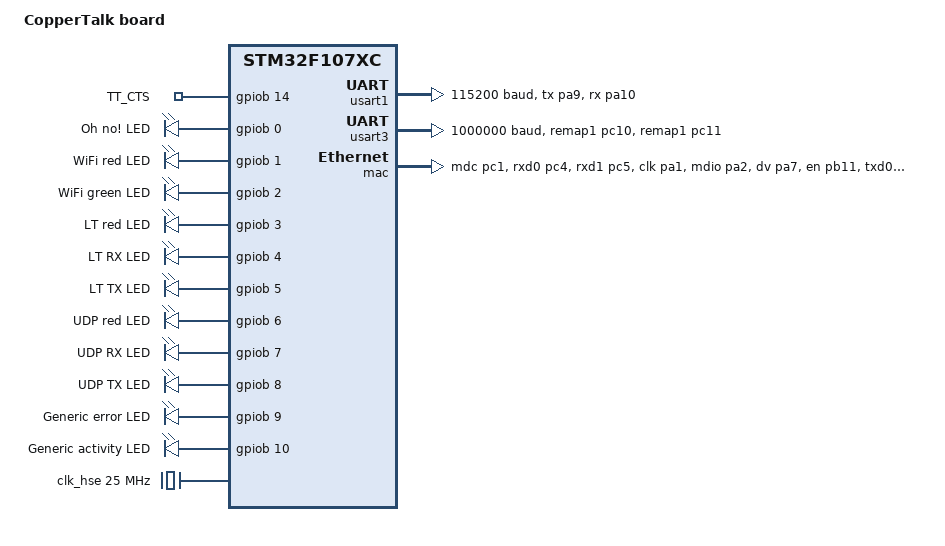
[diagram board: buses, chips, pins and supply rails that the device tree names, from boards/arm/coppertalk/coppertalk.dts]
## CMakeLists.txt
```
cmake_minimum_required(VERSION 3.20.0)

list(APPEND BOARD_ROOT ${CMAKE_CURRENT_SOURCE_DIR})

find_package(Zephyr REQUIRED)
project(airtalk)

add_subdirectory(src)
```

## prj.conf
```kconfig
CONFIG_EVENTS=y
CONFIG_REBOOT=y
CONFIG_SETTINGS=y

CONFIG_NETWORKING=y
CONFIG_NET_L2_ETHERNET=y
CONFIG_NET_IPV4=y
CONFIG_NET_DHCPV4=y
CONFIG_NET_IPV4_IGMP=y
CONFIG_NET_IF_MCAST_IPV4_ADDR_COUNT=2
CONFIG_NET_STATISTICS_IGMP=y

CONFIG_NET_LOG=y

CONFIG_NET_MGMT=y
CONFIG_NET_MGMT_EVENT=y

CONFIG_NET_SOCKETS=y
CONFIG_NET_SOCKETS_POSIX_NAMES=y

CONFIG_SERIAL=y
CONFIG_UART_INTERRUPT_DRIVEN=y
```

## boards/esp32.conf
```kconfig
CONFIG_WIFI=y
CONFIG_WIFI_ESP32=y
#CONFIG_HEAP_MEM_POOL_SIZE=98304
#CONFIG_HEAP_MEM_POOL_SIZE=146768
#CONFIG_HEAP_MEM_POOL_SIZE=143696
#CONFIG_HEAP_MEM_POOL_SIZE=143568
#CONFIG_HEAP_MEM_POOL_SIZE=33344
#CONFIG_HEAP_MEM_POOL_SIZE=33296
CONFIG_HEAP_MEM_POOL_SIZE=33232

CONFIG_MBEDTLS=y
CONFIG_MBEDTLS_ENTROPY_ENABLED=y
CONFIG_MBEDTLS_KEY_EXCHANGE_ECDHE_ECDSA_ENABLED=y
CONFIG_MBEDTLS_ECP_ALL_ENABLED=y

# when enabling NET_SHELL, the following
# helps to optimize memory footprint
CONFIG_ESP32_WIFI_STATIC_RX_BUFFER_NUM=8
CONFIG_ESP32_WIFI_DYNAMIC_RX_BUFFER_NUM=8
CONFIG_ESP32_WIFI_DYNAMIC_TX_BUFFER_NUM=8
CONFIG_ESP32_WIFI_IRAM_OPT=n
CONFIG_ESP32_WIFI_RX_IRAM_OPT=n
```

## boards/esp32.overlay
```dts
/ {
	chosen {
	     zephyr,console = &uart0;
	};

	leds {
		compatible= "gpio-leds";

		wifi_red_led: wifi_red_led {
			gpios = <&gpio1 3 GPIO_ACTIVE_HIGH>;
			label = "WiFi red LED";
		};

		wifi_green_led: wifi_green_led {
			gpios = <&gpio1 0 GPIO_ACTIVE_HIGH>;
			label = "WiFi green LED";
		};

		udp_red_led: udp_red_led {
			gpios = <&gpio0 27 GPIO_ACTIVE_HIGH>;
			label = "UDP red LED";
		};

		udp_tx_led: udp_tx_led {
			gpios = <&gpio0 12 GPIO_ACTIVE_HIGH>;
			label = "UDP TX LED";
		};

		udp_rx_led: udp_rx_led {
			gpios = <&gpio0 14 GPIO_ACTIVE_HIGH>;
			label = "UDP RX LED";
		};

		lt_red_led: lt_red_led {
			gpios = <&gpio1 1 GPIO_ACTIVE_HIGH>;
			label = "LT red LED";
		};

		lt_tx_led: lt_tx_led {
			gpios = <&gpio0 26 GPIO_ACTIVE_HIGH>;
			label = "LT TX LED";
		};

		lt_rx_led: lt_rx_led {
			gpios = <&gpio0 25 GPIO_ACTIVE_HIGH>;
			label = "LT RX LED";
		};

		oh_no_led: oh_no_led {
			gpios = <&gpio1 2 GPIO_ACTIVE_HIGH>;
			label = "Oh no! LED";
		};

		generic_err_led: generic_err_led {
			gpios = <&gpio0 5 GPIO_ACTIVE_HIGH>;
			label = "Generic error LED";
		};

		generic_act_led: generic_act_led {
			gpios = <&gpio0 16 GPIO_ACTIVE_HIGH>;
			label = "Generic activity LED";
		};
	};

	gpio_keys {
		compatible = "gpio-keys";
		recoverybutton: recovery_button {
			gpios = <&gpio1 2 GPIO_ACTIVE_LOW>;
			label = "Recovery Button";
		};
	};

	aliases {
		wifi-red-led = &wifi_red_led;
		wifi-green-led = &wifi_green_led;
		udp-red-led = &udp_red_led;
		udp-tx-led = &udp_tx_led;
		udp-rx-led = &udp_rx_led;
		lt-red-led = &lt_red_led;
		lt-tx-led = &lt_tx_led;
		lt-rx-led = &lt_rx_led;
		oh-no-led = &oh_no_led;
		generic-err-led = &generic_err_led;
		generic-act-led = &generic_act_led;

		recoverybutton = &recoverybutton;

		uart-tt = &uart2;
	};
};

&pinctrl {
	uart_tt: uart_tt {
		group1 {
			pinmux = <UART2_TX_GPIO15>;
		};
		group2 {
			pinmux = <UART2_RX_GPIO13>;
			bias-pull-up;
		};
		group3 {
			pinmux = <UART2_RTS_GPIO5>;
			bias-pull-up;
			drive-open-drain;
		};
		group4 {
			pinmux = <UART2_CTS_GPIO2>;
			bias-pull-up;
			drive-open-drain;
		};
	};
};
/*
        uart1_rx_gpio15: uart1_rx_gpio15 {
                pinmux = <UART1_RX_GPIO13>;
        };

        uart1_tx_gpio13: uart1_tx_gpio13 {
                pinmux = <UART1_TX_GPIO15>;
                bias-pull-up;
        };

	uart1_rts_gpio5: uart1_rts_gpio5 {
                pinmux = <UART1_RX_GPIO5>;
                bias-pull-up;
		drive-open-drain;
	};

	uart1_cts_gpio2: uart1_rts_gpio2 {
                pinmux = <UART1_RX_GPIO2>;
                bias-pull-up;
		drive-open-drain;
	};
*/

&uart2 {
	status = "okay";
	current-speed = <1000000>;
	pinctrl-0 = <&uart_tt>;
	hw-flow-control;
};

//        pinctrl-0 = <&uart1_tx_gpio13 &uart1_rx_gpio15 &uart1_rts_gpio5 &uart1_cts_gpio2>;
```

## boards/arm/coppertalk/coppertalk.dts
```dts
/*
 * Copyright (c) 2017 Linaro Limited
 *
 * SPDX-License-Identifier: Apache-2.0
 */

/dts-v1/;
#include <st/f1/stm32f107Xc.dtsi>
#include <st/f1/stm32f107r(b-c)tx-pinctrl.dtsi>

/ {
	model = "CopperTalk board";
	compatible = "coppertalk";

	chosen {
		zephyr,console = &usart1;
		zephyr,shell-uart = &usart1;
		//zephyr,console = &cdc_acm_uart0;
		//zephyr,shell-uart = &cdc_acm_uart0;
		zephyr,sram = &sram0;
		zephyr,flash = &flash0;
	};

	gpio_keys {
		compatible="gpio-keys";
		ttcts: tt_cts {
			label = "TT_CTS";
			gpios = <&gpiob 14 (GPIO_ACTIVE_HIGH | GPIO_PULL_UP)>;
		};
		
	};

	leds {
		compatible= "gpio-leds";

		oh_no_led: oh_no_led {
			gpios = <&gpiob 0 GPIO_ACTIVE_HIGH>;
			label = "Oh no! LED";
		};

		wifi_red_led: wifi_red_led {
			gpios = <&gpiob 1 GPIO_ACTIVE_HIGH>;
			label = "WiFi red LED";
		};

		wifi_green_led: wifi_green_led {
			gpios = <&gpiob 2 GPIO_ACTIVE_HIGH>;
			label = "WiFi green LED";
		};

		lt_red_led: lt_red_led {
			gpios = <&gpiob 3 GPIO_ACTIVE_HIGH>;
			label = "LT red LED";
		};

		lt_rx_led: lt_rx_led {
			gpios = <&gpiob 4 GPIO_ACTIVE_HIGH>;
			label = "LT RX LED";
		};

		lt_tx_led: lt_tx_led {
			gpios = <&gpiob 5 GPIO_ACTIVE_HIGH>;
			label = "LT TX LED";
		};

		udp_red_led: udp_red_led {
			gpios = <&gpiob 6 GPIO_ACTIVE_HIGH>;
			label = "UDP red LED";
		};

		udp_rx_led: udp_rx_led {
			gpios = <&gpiob 7 GPIO_ACTIVE_HIGH>;
			label = "UDP RX LED";
		};

		udp_tx_led: udp_tx_led {
			gpios = <&gpiob 8 GPIO_ACTIVE_HIGH>;
			label = "UDP TX LED";
		};

		generic_err_led: generic_err_led {
			gpios = <&gpiob 9 GPIO_ACTIVE_HIGH>;
			label = "Generic error LED";
		};

		generic_act_led: generic_act_led {
			gpios = <&gpiob 10 GPIO_ACTIVE_HIGH>;
			label = "Generic activity LED";
		};
	};

	aliases {
		wifi-red-led = &wifi_red_led;
		wifi-green-led = &wifi_green_led;
		udp-red-led = &udp_red_led;
		udp-tx-led = &udp_tx_led;
		udp-rx-led = &udp_rx_led;
		lt-red-led = &lt_red_led;
		lt-tx-led = &lt_tx_led;
		lt-rx-led = &lt_rx_led;
		oh-no-led = &oh_no_led;
		generic-err-led = &generic_err_led;
		generic-act-led = &generic_act_led;

		tt-cts = &ttcts;
		uart-tt = &usart3;
		uart-usb = &usart1;
	};
};

&clk_hse {
	status = "okay";
	clock-frequency = <DT_FREQ_M(25)>; /* 25MHz crystal */
};

&pll2 {
	status = "okay";
	clocks = <&clk_hse>;
	prediv = <5>; /* Prediv2 */
	mul = <8>; /* PLL2Mul */
};

&pll {
	status = "okay";
	clocks = <&pll2>; /* Prediv1 Source Mux */
	prediv = <5>; /* Prediv1 */
	mul = <9>; /* PLLMul */
};

&rcc {
	status = "okay";
	clocks = <&pll>;
	clock-frequency = <DT_FREQ_M(72)>;
	ahb-prescaler = <1>;
	apb1-prescaler = <2>;
	apb2-prescaler = <1>;
};

&usart1 {
	status = "okay";
	pinctrl-0 = <&usart1_tx_pa9 &usart1_rx_pa10>;
	pinctrl-names = "default";
	current-speed = <115200>;
};

&usart3 {
	status = "okay";
	//pinctrl-0 = <&usart3_tx_remap1_pc10 &usart3_rx_remap1_pc11 &usart3_rts_pb14 &usart3_cts_pb13>;
	//pinctrl-0 = <&usart3_tx_remap1_pc10 &usart3_rx_remap1_pc11 &usart3_rts_pb14>;
	pinctrl-0 = <&usart3_tx_remap1_pc10 &usart3_rx_remap1_pc11>;
	pinctrl-names = "default";
	current-speed = <1000000>;
	//hw-flow-control;
};



&dma1 {
	status = "okay";
};

&mac {
	status = "okay";
	pinctrl-0 = <&eth_mdc_pc1
		     &eth_rxd0_pc4
		     &eth_rxd1_pc5
		     &eth_ref_clk_pa1
		     &eth_mdio_pa2
		     &eth_crs_dv_pa7
		     &eth_tx_en_pb11
		     &eth_txd0_pb12
		     &eth_txd1_pb13
		     &mco1_pa8>;
	pinctrl-names = "default";
};
/*
zephyr_udc0: &usbotg_fs {
	status = "okay";
	pinctrl-0 = <&usb_otg_fs_dm_pa11 &usb_otg_fs_dp_pa12>;
	pinctrl-names = "default";
};

&zephyr_udc0 {
	cdc_acm_uart0: cdc_acm_uart0 {
		compatible = "zephyr,cdc-acm-uart";
	};
};
*/

&flash0 {
	partitions {
		compatible = "fixed-partitions";
		#address-cells = <1>;
		#size-cells = <1>;

		/* Set 2KB of storage at the end of 256KB flash */
		storage_partition: partition@1f800 {
			label = "storage";
			reg = <0x0003f800 0x00000800>;
		};
	};
};

/* GD32F107RCT6 has 96k of SRAM instead of 64k */
&sram0 {
	reg = <0x20000000 DT_SIZE_K(96)>;
};

&gpioa {
    pinctrl-0 = <&mco1_pa8>;
    pinctrl-names = "default";
};

&pinctrl {
	mco1_pa8: mco1_pa8 {
		pinmux = <STM32F1_PINMUX('A', 8, ALTERNATE, NO_REMAP)>;
		slew-rate = "max-speed-50mhz";
	};

	/* Free up PB3/PB4 by disabling JTAG debugging since it is not supported on the board */
	swj-cfg = "jtag-disable";
};
```

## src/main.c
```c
#include <stdio.h>
#include <string.h>

#include "sdkconfig.h"
#include "driver/gpio.h"
#include "esp_system.h"
#include "esp_spi_flash.h"

#include "packet_types.h"
#include "buffer_pool.h"
#include "led.h"
#include "wifi.h"
#include "ip.h"
#include "uart.h"
#include "apps.h"
#include "scan_manager.h"
#include "storage.h"
#include "recovery.h"
#include "recovery_listener.h"


#include "esp_wifi.h"

// some queues
K_MSGQ_DEFINE(UARTtoApps, sizeof(llap_packet *), 60, 4);
K_MSGQ_DEFINE(AppsToUDP, sizeof(llap_packet *), 60, 4);
K_MSGQ_DEFINE(UDPtoUART, sizeof(llap_packet *), 60, 4);

// For buffer pool
K_MSGQ_DEFINE(packet_pool_queue, sizeof(char *), 180, 4);


void recovery_main(void) {
	storage_init();
	led_init();
	turn_all_leds_on();

	init_recovery_wifi();
	start_recovery_webserver();

	printf("would enter recovery here");
	while(1) {
		k_msleep(1000);
	}
}

void main(void)
{
	printf("storage init\n");
	storage_init();
	uint8_t recovery = 0;
	recovery = get_recovery();
	clear_recovery();
	#if 0 // Recovery disabled for now in Zephyr port
	if (recovery) {
		recovery_main();
	}
	#endif
	

	printf("led init\n");
	led_init();
	printf("uart init\n");
	uart_init();
	printf("wifi init\n");
	init_at_wifi();

	// A pool of buffers used for LLAP packets/frames on the way through
	static buffer_pool_t packet_pool;
	static char buffers[180][sizeof(llap_packet)];
	init_buffer_pool(&packet_pool, &packet_pool_queue, (char *)buffers[0], 180, sizeof(llap_packet));

	
	//printk("start_recovery_listener\n");
	//start_recovery_listener();	
	printk("start_udp\n");
	start_udp(&packet_pool, &AppsToUDP, &UDPtoUART);
	//printk("start_scan_manager\n");
	//start_scan_manager();
	printk("start_apps\n");
	start_apps(&packet_pool, &UARTtoApps, &UDPtoUART, &AppsToUDP);
	printk("uart_start\n");
	uart_start(&packet_pool, &UDPtoUART, &UARTtoApps);

	printk("Initialized!\n");

	while(1) {
		k_msleep(1000);
	}
}
```

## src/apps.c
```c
#include <zephyr/zephyr.h>
#include <zephyr/sys/reboot.h>

#include <stdbool.h>
#include <string.h>

#include "esp_system.h"
#include "esp_log.h"

#include "apps.h"
#include "scan_manager.h"
#include "buffer_pool.h"
#include "packet_types.h"
#include "packet_utils.h"
#include "crc.h"
#include "crc32.h"
#include "pstrings.h"
#include "storage.h"

#define REQUIRE(x) if(!(x)) { return false; }

#define THREAD_APPS_PRIORITY 5

const char* TAG = "APPS";

struct k_msgq *qFromUART = NULL;
struct k_msgq *qToUART = NULL;
struct k_msgq *qToUDP = NULL;
buffer_pool_t* buffer_pool;

struct k_thread apps_task;
K_THREAD_STACK_DEFINE(apps_stack, 4096);

void send_fake_nbp_LkUpReply(uint8_t node, uint8_t socket, uint8_t enumerator,
	uint8_t nbp_id, char* object, char* type, char* zone) {

	llap_packet* packet = bp_fetch(buffer_pool);
	if (packet == NULL) {
		// um I don't know what to do, let's bail out and hope it goes away
		printk("send_fake_nbp_LkUpReply packet == NULL\n");
		return;
	}
	
	// first of all, let's work out how long this packet is going to be
	uint16_t object_len = strlen(object);
	uint16_t type_len = strlen(type);
	uint16_t zone_len = strlen(zone);
	
	uint16_t tuple_len = 5 + // network information
					  3 + // string length bytes
					  object_len + type_len + zone_len;
					
	uint16_t nbp_packet_len = tuple_len + 2;
	uint16_t ddp_packet_len = nbp_packet_len + 5;
	uint16_t llap_packet_len = ddp_packet_len + 3;
	
	// now start populating the packet.  LLAP headers first:
	packet->length = llap_packet_len;
	packet->packet[0] = node;
	packet->packet[1] = 129; // see if we can get away with this
	packet->packet[2] = 1; // 1 -> DDP, short header.
	
	// DDP headers next:
	packet->packet[3] = 0;
	packet->packet[4] = ddp_packet_len;
		
	packet->packet[5] = socket;
	packet->packet[6] = 2; // source socket number
	packet->packet[7] = 2; // DDP type for NBP
	
	// NBP header:
	packet->packet[8] = 0x31;  // lkup-reply, 1 tuple
	packet->packet[9] = nbp_id;
	
	// NBP tuple.  We fake this based on the crc32 of the object name
	uint32_t my_crc32 = crc32buf(object, object_len);
	
	packet->packet[10] = my_crc32 & 0xFF000000 >> 24; // network, msb
	packet->packet[11] = my_crc32 & 0x00FF0000 >> 16;
	packet->packet[12] = my_crc32 & 0x0000FF00 >> 8; // node ID
	packet->packet[13] = my_crc32 & 0x000000FF; // socket number
	packet->packet[14] = enumerator;
	
	// add names into tuple
	int cursor = 15;
	
	// object
	packet->packet[cursor++] = object_len;
	for (int i = 0; i < object_len; i++) {
		packet->packet[cursor++] = object[i];
	}
	
	// type
	packet->packet[cursor++] = type_len;
	for (int i = 0; i < type_len; i++) {
		packet->packet[cursor++] = type[i];
	}

	// zone
	packet->packet[cursor++] = zone_len;
	for (int i = 0; i < zone_len; i++) {
		packet->packet[cursor++] = zone[i];
	}
	
	// finally, add the crc
	crc_state_t crc;
	crc_state_init(&crc);
	crc_state_append_all(&crc, packet->packet, packet->length);
	
	packet->length += 2;
	packet->packet[cursor++] = crc_state_byte_1(&crc);
	packet->packet[cursor++] = crc_state_byte_2(&crc);
	
	k_msgq_put(qToUART, &packet, K_FOREVER);
	k_msleep(1);
	
	//bp_relinquish(buffer_pool, &packet);
}

bool is_our_nbp_lkup(llap_packet* packet, char* nbptype, nbp_return_t* addr) {
	// First, we check whether this is a broadcast NBP lookup with at least one
	// tuple.
	REQUIRE(is_nbp_packet(packet));
	REQUIRE(ddp_destination_node(packet) == 255);
	REQUIRE(nbp_function_code(packet) == NBP_LKUP);
	REQUIRE(nbp_tuple_count(packet) > 0);
			
	// Now we extract the first tuple and check whether the type is the one
	// our caller wants.
	nbp_tuple_t tuple = nbp_tuple(packet, 0);
	if (!tuple.ok) {
		return false;
	}
		
	// let's check our type string is actually a protocol-compliant length.
	// just in case.
	if (pstrlen(tuple.type) > 32) {
		return false;
	}

	// Now compare.  Note that the tuple contains pascal strings, so we have
	// to convert it.
	char typename[33];
	pstrncpy(typename, tuple.type, 32);
	if (strncmp(typename, nbptype, 33) != 0) {
		return false;
	}
	
	// If we get to this point, we care about this update, so fill in the 
	// return address for the caller.
	addr->node = tuple.node;
	addr->socket = tuple.socket;
	addr->nbp_id = nbp_id(packet);

	return true;
}

bool handle_configuration_packet(llap_packet* packet) {
	// We're looking for an ATP TREQ packet...
	REQUIRE(is_atp_packet(packet));
	REQUIRE(atp_function_code(packet) == ATP_TREQ);
	
	// ... aimed at a broadcast address ...
	REQUIRE(ddp_destination_node(packet) == 255);
	
	// ... with a destination socket of 4 ...
	REQUIRE(ddp_destination_socket(packet) == 4);
	
	unsigned char* payload = &packet->packet[atp_payload_offset(packet)];
	
	// ... with a payload that begins with "airtalk setap" as a pascal string
	if (memcmp(payload + 1, "airtalk setap", 13) != 0) {
		return false;
	}

	// copy stuff out of the payload
	char ssid[64] = {0};
	char passwd[64] = {0};
	pstrncpy(ssid, payload+14, 63);
	pstrncpy(passwd, payload + 14 + pstrlen(payload+14)+1, 63);
	
	ESP_LOGI(TAG, "wifi config request r'd, ssid: %s, pass: %s", ssid, passwd);
	store_wifi_details(ssid, passwd);
	sys_reboot(SYS_REBOOT_WARM);
	
	// we never actually return but C wants us to pretend
	return false;
}

void apps_runloop(void *p1, void *p2, void *p3) {
	llap_packet* packet = NULL;
	nbp_return_t nbp_addr;
	
	while(1) {
		if (!k_msgq_get(qFromUART, &packet, K_FOREVER)) {
			if (is_our_nbp_lkup(packet, "AirTalkAP", &nbp_addr)) {
				ESP_LOGI(TAG, "nbp lkup");
				//FIXME: Unsupported for now in Zephyr port
				//scan_and_send_results(nbp_addr.node, nbp_addr.socket, nbp_addr.nbp_id);
			}
			
			if (handle_configuration_packet(packet)) {
				bp_relinquish(buffer_pool, (void**)&packet);
				continue;
			}
		
			k_msgq_put(qToUDP, &packet, K_FOREVER);
		}
	}
}

void start_apps(buffer_pool_t* packet_pool, struct k_msgq *fromUART, 
	struct k_msgq *toUART, struct k_msgq *toUDP) {

	qFromUART = fromUART;
	qToUART = toUART;
	qToUDP = toUDP;
	buffer_pool = packet_pool;
	
        k_thread_create(&apps_task, apps_stack,
                        K_THREAD_STACK_SIZEOF(apps_stack),
                        apps_runloop,
                        (void*)packet_pool, NULL, NULL,
                        THREAD_APPS_PRIORITY, 0, K_NO_WAIT);
}
```

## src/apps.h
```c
#ifndef APPS_H
#define APPS_H

#include "buffer_pool.h"

/* apps.{c,h} contains the runloop for the "applications"---that is to say,
   things that capture and respond to packets from the LocalTalk side. */

// start_apps starts the runloop for applications and packet filters
void start_apps(buffer_pool_t* packet_pool, struct k_msgq *fromUART, struct k_msgq *toUART, struct k_msgq *toUDP);

// send_fake_nbp_LkUpReply does exactly what it says on the tin.
void send_fake_nbp_LkUpReply(uint8_t node, uint8_t socket, uint8_t enumerator,
	uint8_t nbp_id, char* object, char* type, char* zone);

#endif
```

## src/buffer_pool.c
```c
#include <string.h>

#include "buffer_pool.h"
#include "led.h"

static const char* TAG = "bufferpool";

/* the buffer_pool_t type is defined in the header file */

void bp_panic() {
	printk("PANIC AT THE DISCO!  PANIC IN THE BUFFER POOL!\n");
	turn_led_on(OH_NO_LED);
}

int init_buffer_pool(buffer_pool_t *bp, struct k_msgq *queue, char *buffers, size_t buffer_count, size_t buffer_size) {
	// Now construct the struct to return
	if (bp == NULL) {
		goto handle_err;
	}
	bp->buffer_count = buffer_count;
	bp->buffer_size = buffer_size;
	bp->queue = queue;

	
	if (buffers == NULL) {
		goto handle_err;
	}

	// Now create the buffers
	for (size_t i = 0; i < buffer_count; i++) {
		char *buffer = buffers + i * buffer_size;
		int ret = k_msgq_put(bp->queue, &buffer, K_NO_WAIT);
		if (ret == -ENOMSG) {
			printk("BUG: in new_buffer_pool, why is the queue full?\n");
			turn_led_on(OH_NO_LED);
			goto handle_err;
		}
	}

	return 0;

handle_err:
	/* TODO: error handling */
	bp_panic();
	return -1;
}

void* bp_fetch(buffer_pool_t* bp) {
	if (bp == NULL || bp->queue->buffer_start == NULL) {
		printk("BUG: bp_fetch called on null pool or pool with null queue\n");
		turn_led_on(OH_NO_LED);
		return NULL;
	}
	
	void* buffer;

	int ret = k_msgq_get(bp->queue, &buffer, K_NO_WAIT);
	
	if (!ret) {
		return buffer;
	} else {
		printk("BUG: bp_fetch underflowed buffer pool\n");
		turn_led_on(OH_NO_LED);
		return NULL;
	}
}

void bp_relinquish(buffer_pool_t* bp, void** buff) {
	if (buff == NULL) {
		printk("BUG: bp_relinquish called on null pointer\n");
		turn_led_on(OH_NO_LED);
	}
	if (*buff == NULL) {
		printk("BUG: bp_relinquish called on pointer to null buffer\n");
		turn_led_on(OH_NO_LED);
	}

	// Try to push the buffer to the queue	
	int ret = k_msgq_put(bp->queue, buff, K_NO_WAIT);
	if (ret == -ENOMSG) {
		printk("BUG: bp_relinquish queue overflow; have you relinquished a bad pointer?\n");
		turn_led_on(OH_NO_LED);
		return;
	}

	memset(*buff, 0, bp->buffer_size);
	
	*buff = NULL;	
}

int bp_buffersize(buffer_pool_t* bp) {
	return bp->buffer_size;
}
```

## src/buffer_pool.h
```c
#ifndef BUFFER_POOL_H
#define BUFFER_POOL_H

#include <zephyr/zephyr.h>

/* This file and its corresponding .c file contain a thread-safe buffer pool
   implementation.  This is used to avoid having to allocate memory for buffers
   dynamically during the lifetime of the application: instead, all buffers can
   be allocated at the start of the program, which minimises the likelihood
   of nasty memory surprises later. */

typedef struct {
	int buffer_count;
	int buffer_size;
	struct k_msgq *queue;
} buffer_pool_t;

// init_buffer_pool initialises a pre-allocated buffer pool.
int init_buffer_pool(buffer_pool_t *bp, struct k_msgq *queue, char *buffers, size_t buffer_count, size_t buffer_size);

// bp_fetch returns a zeroed-out buffer from the pool.
void* bp_fetch(buffer_pool_t* bp);

// bp_relinquish returns a buffer to the pool.  There is no need to zero the
// buffer before relinquishing it.
void bp_relinquish(buffer_pool_t* bp, void** buff);

int bp_buffersize(buffer_pool_t* bp);
int bp_available(buffer_pool_t* bp);

#endif
```

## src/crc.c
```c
#include "crc.h"

/* Look, blame IBM, don't blame me */
const uint16_t LT_CRC_LUT[] = {
  0x0000, 0x1189, 0x2312, 0x329B, 0x4624, 0x57AD, 0x6536, 0x74BF, 0x8C48, 0x9DC1, 0xAF5A, 0xBED3, 0xCA6C, 0xDBE5, 0xE97E, 0xF8F7,
  0x1081, 0x0108, 0x3393, 0x221A, 0x56A5, 0x472C, 0x75B7, 0x643E, 0x9CC9, 0x8D40, 0xBFDB, 0xAE52, 0xDAED, 0xCB64, 0xF9FF, 0xE876,
  0x2102, 0x308B, 0x0210, 0x1399, 0x6726, 0x76AF, 0x4434, 0x55BD, 0xAD4A, 0xBCC3, 0x8E58, 0x9FD1, 0xEB6E, 0xFAE7, 0xC87C, 0xD9F5,
  0x3183, 0x200A, 0x1291, 0x0318, 0x77A7, 0x662E, 0x54B5, 0x453C, 0xBDCB, 0xAC42, 0x9ED9, 0x8F50, 0xFBEF, 0xEA66, 0xD8FD, 0xC974,
  0x4204, 0x538D, 0x6116, 0x709F, 0x0420, 0x15A9, 0x2732, 0x36BB, 0xCE4C, 0xDFC5, 0xED5E, 0xFCD7, 0x8868, 0x99E1, 0xAB7A, 0xBAF3,
  0x5285, 0x430C, 0x7197, 0x601E, 0x14A1, 0x0528, 0x37B3, 0x263A, 0xDECD, 0xCF44, 0xFDDF, 0xEC56, 0x98E9, 0x8960, 0xBBFB, 0xAA72,
  0x6306, 0x728F, 0x4014, 0x519D, 0x2522, 0x34AB, 0x0630, 0x17B9, 0xEF4E, 0xFEC7, 0xCC5C, 0xDDD5, 0xA96A, 0xB8E3, 0x8A78, 0x9BF1,
  0x7387, 0x620E, 0x5095, 0x411C, 0x35A3, 0x242A, 0x16B1, 0x0738, 0xFFCF, 0xEE46, 0xDCDD, 0xCD54, 0xB9EB, 0xA862, 0x9AF9, 0x8B70,
  0x8408, 0x9581, 0xA71A, 0xB693, 0xC22C, 0xD3A5, 0xE13E, 0xF0B7, 0x0840, 0x19C9, 0x2B52, 0x3ADB, 0x4E64, 0x5FED, 0x6D76, 0x7CFF,
  0x9489, 0x8500, 0xB79B, 0xA612, 0xD2AD, 0xC324, 0xF1BF, 0xE036, 0x18C1, 0x0948, 0x3BD3, 0x2A5A, 0x5EE5, 0x4F6C, 0x7DF7, 0x6C7E,
  0xA50A, 0xB483, 0x8618, 0x9791, 0xE32E, 0xF2A7, 0xC03C, 0xD1B5, 0x2942, 0x38CB, 0x0A50, 0x1BD9, 0x6F66, 0x7EEF, 0x4C74, 0x5DFD,
  0xB58B, 0xA402, 0x9699, 0x8710, 0xF3AF, 0xE226, 0xD0BD, 0xC134, 0x39C3, 0x284A, 0x1AD1, 0x0B58, 0x7FE7, 0x6E6E, 0x5CF5, 0x4D7C,
  0xC60C, 0xD785, 0xE51E, 0xF497, 0x8028, 0x91A1, 0xA33A, 0xB2B3, 0x4A44, 0x5BCD, 0x6956, 0x78DF, 0x0C60, 0x1DE9, 0x2F72, 0x3EFB,
  0xD68D, 0xC704, 0xF59F, 0xE416, 0x90A9, 0x8120, 0xB3BB, 0xA232, 0x5AC5, 0x4B4C, 0x79D7, 0x685E, 0x1CE1, 0x0D68, 0x3FF3, 0x2E7A,
  0xE70E, 0xF687, 0xC41C, 0xD595, 0xA12A, 0xB0A3, 0x8238, 0x93B1, 0x6B46, 0x7ACF, 0x4854, 0x59DD, 0x2D62, 0x3CEB, 0x0E70, 0x1FF9,
  0xF78F, 0xE606, 0xD49D, 0xC514, 0xB1AB, 0xA022, 0x92B9, 0x8330, 0x7BC7, 0x6A4E, 0x58D5, 0x495C, 0x3DE3, 0x2C6A, 0x1EF1, 0x0F78,
};

void crc_state_init(crc_state_t* state) {
	*state = 0xFFFF;
}

void crc_state_append(crc_state_t* state, unsigned char b) {
	int index = (*state & 0xFF) ^ b;
	*state = LT_CRC_LUT[index] ^ (*state >> 8);
}

void crc_state_append_all(crc_state_t* state, unsigned char* buf, int len) {
	for (int i = 0; i < len; i++) {
		crc_state_append(state, buf[i]);
	}
}

bool crc_state_ok(crc_state_t* state) {
	return *state == 61624;
}

unsigned char crc_state_byte_1(crc_state_t* state) {
	return (*state & 0xFF) ^ 0xFF;
}

unsigned char crc_state_byte_2(crc_state_t* state) {
	return (*state >> 8) ^ 0xFF;
}
```

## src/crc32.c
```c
#include "crc32.h"

/* Derived from code bearing the following copyright statement:

   Copyright (C) 1986 Gary S. Brown.  You may use this program, or
   code or tables extracted from it, as desired without restriction. */
   
static const uint32_t crc_32_tab[] = { /* CRC polynomial 0xedb88320 */
0x00000000, 0x77073096, 0xee0e612c, 0x990951ba, 0x076dc419, 0x706af48f,
0xe963a535, 0x9e6495a3, 0x0edb8832, 0x79dcb8a4, 0xe0d5e91e, 0x97d2d988,
0x09b64c2b, 0x7eb17cbd, 0xe7b82d07, 0x90bf1d91, 0x1db71064, 0x6ab020f2,
0xf3b97148, 0x84be41de, 0x1adad47d, 0x6ddde4eb, 0xf4d4b551, 0x83d385c7,
0x136c9856, 0x646ba8c0, 0xfd62f97a, 0x8a65c9ec, 0x14015c4f, 0x63066cd9,
0xfa0f3d63, 0x8d080df5, 0x3b6e20c8, 0x4c69105e, 0xd56041e4, 0xa2677172,
0x3c03e4d1, 0x4b04d447, 0xd20d85fd, 0xa50ab56b, 0x35b5a8fa, 0x42b2986c,
0xdbbbc9d6, 0xacbcf940, 0x32d86ce3, 0x45df5c75, 0xdcd60dcf, 0xabd13d59,
0x26d930ac, 0x51de003a, 0xc8d75180, 0xbfd06116, 0x21b4f4b5, 0x56b3c423,
0xcfba9599, 0xb8bda50f, 0x2802b89e, 0x5f058808, 0xc60cd9b2, 0xb10be924,
0x2f6f7c87, 0x58684c11, 0xc1611dab, 0xb6662d3d, 0x76dc4190, 0x01db7106,
0x98d220bc, 0xefd5102a, 0x71b18589, 0x06b6b51f, 0x9fbfe4a5, 0xe8b8d433,
0x7807c9a2, 0x0f00f934, 0x9609a88e, 0xe10e9818, 0x7f6a0dbb, 0x086d3d2d,
0x91646c97, 0xe6635c01, 0x6b6b51f4, 0x1c6c6162, 0x856530d8, 0xf262004e,
0x6c0695ed, 0x1b01a57b, 0x8208f4c1, 0xf50fc457, 0x65b0d9c6, 0x12b7e950,
0x8bbeb8ea, 0xfcb9887c, 0x62dd1ddf, 0x15da2d49, 0x8cd37cf3, 0xfbd44c65,
0x4db26158, 0x3ab551ce, 0xa3bc0074, 0xd4bb30e2, 0x4adfa541, 0x3dd895d7,
0xa4d1c46d, 0xd3d6f4fb, 0x4369e96a, 0x346ed9fc, 0xad678846, 0xda60b8d0,
0x44042d73, 0x33031de5, 0xaa0a4c5f, 0xdd0d7cc9, 0x5005713c, 0x270241aa,
0xbe0b1010, 0xc90c2086, 0x5768b525, 0x206f85b3, 0xb966d409, 0xce61e49f,
0x5edef90e, 0x29d9c998, 0xb0d09822, 0xc7d7a8b4, 0x59b33d17, 0x2eb40d81,
0xb7bd5c3b, 0xc0ba6cad, 0xedb88320, 0x9abfb3b6, 0x03b6e20c, 0x74b1d29a,
0xead54739, 0x9dd277af, 0x04db2615, 0x73dc1683, 0xe3630b12, 0x94643b84,
0x0d6d6a3e, 0x7a6a5aa8, 0xe40ecf0b, 0x9309ff9d, 0x0a00ae27, 0x7d079eb1,
0xf00f9344, 0x8708a3d2, 0x1e01f268, 0x6906c2fe, 0xf762575d, 0x806567cb,
0x196c3671, 0x6e6b06e7, 0xfed41b76, 0x89d32be0, 0x10da7a5a, 0x67dd4acc,
0xf9b9df6f, 0x8ebeeff9, 0x17b7be43, 0x60b08ed5, 0xd6d6a3e8, 0xa1d1937e,
0x38d8c2c4, 0x4fdff252, 0xd1bb67f1, 0xa6bc5767, 0x3fb506dd, 0x48b2364b,
0xd80d2bda, 0xaf0a1b4c, 0x36034af6, 0x41047a60, 0xdf60efc3, 0xa867df55,
0x316e8eef, 0x4669be79, 0xcb61b38c, 0xbc66831a, 0x256fd2a0, 0x5268e236,
0xcc0c7795, 0xbb0b4703, 0x220216b9, 0x5505262f, 0xc5ba3bbe, 0xb2bd0b28,
0x2bb45a92, 0x5cb36a04, 0xc2d7ffa7, 0xb5d0cf31, 0x2cd99e8b, 0x5bdeae1d,
0x9b64c2b0, 0xec63f226, 0x756aa39c, 0x026d930a, 0x9c0906a9, 0xeb0e363f,
0x72076785, 0x05005713, 0x95bf4a82, 0xe2b87a14, 0x7bb12bae, 0x0cb61b38,
0x92d28e9b, 0xe5d5be0d, 0x7cdcefb7, 0x0bdbdf21, 0x86d3d2d4, 0xf1d4e242,
0x68ddb3f8, 0x1fda836e, 0x81be16cd, 0xf6b9265b, 0x6fb077e1, 0x18b74777,
0x88085ae6, 0xff0f6a70, 0x66063bca, 0x11010b5c, 0x8f659eff, 0xf862ae69,
0x616bffd3, 0x166ccf45, 0xa00ae278, 0xd70dd2ee, 0x4e048354, 0x3903b3c2,
0xa7672661, 0xd06016f7, 0x4969474d, 0x3e6e77db, 0xaed16a4a, 0xd9d65adc,
0x40df0b66, 0x37d83bf0, 0xa9bcae53, 0xdebb9ec5, 0x47b2cf7f, 0x30b5ffe9,
0xbdbdf21c, 0xcabac28a, 0x53b39330, 0x24b4a3a6, 0xbad03605, 0xcdd70693,
0x54de5729, 0x23d967bf, 0xb3667a2e, 0xc4614ab8, 0x5d681b02, 0x2a6f2b94,
0xb40bbe37, 0xc30c8ea1, 0x5a05df1b, 0x2d02ef8d
};

#define UPDC32(octet,crc) (crc_32_tab[((crc)\
	 ^ ((uint8_t)octet)) & 0xff] ^ ((crc) >> 8))


uint32_t crc32buf(char *buf, size_t len)
{
	  register uint32_t oldcrc32;

	  oldcrc32 = 0xFFFFFFFF;

	  for ( ; len; --len, ++buf)
	  {
			oldcrc32 = UPDC32(*buf, oldcrc32);
	  }

	  return ~oldcrc32;
}
```

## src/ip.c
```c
#include <zephyr/zephyr.h>
#include <zephyr/net/socket.h>
#include <zephyr/net/igmp.h>

#include "esp_log.h"

#include "packet_types.h"
#include "buffer_pool.h"
#include "wifi.h"
#include "led.h"
#include "crc.h"
#include "uart.h"
#include "node_table.h"

#define THREAD_UDP_RX_PRIORITY 5
#define THREAD_UDP_TX_PRIORITY 5

static const char* TAG = "ip";

int udp_sock = -1;
buffer_pool_t* packet_pool;
struct k_thread udp_rx_task;
struct k_thread udp_tx_task;

struct k_msgq *udp_tx_queue = NULL;
struct k_msgq *udp_rx_queue = NULL;

K_THREAD_STACK_DEFINE(udp_rx_stack, 4096);
K_THREAD_STACK_DEFINE(udp_tx_stack, 4096);

node_table_t forward_for_nodes = { 0 };

void udp_error() {
	flash_led_once(UDP_RED_LED);
}

void init_udp(void) {
	struct sockaddr_in saddr = { 0 };
	int sock = -1;
	int err = 0;
	
	/* bail out early if we don't have a wifi network interface yet */
	
	struct net_if * wifi_if = get_wifi_intf();
	if (wifi_if == NULL) {
		printk("wireless network interface does not exist.\n");
		udp_error();
		return;
	}
	
	/* or if doesn't think it's ready */
	if (!is_wifi_ready()) {
		printk("wireless network interface is not ready.\n");
		udp_error();
		return;
	};
	
	/* create the multicast socket and twiddle its socket options */

	sock = socket(PF_INET, SOCK_DGRAM, IPPROTO_IP);
	if (sock < 0) {
		printk("socket() failed.  error: %d\n", errno);
		udp_error();
		return;
	}
	
	saddr.sin_family = PF_INET;
	saddr.sin_port = htons(1954);
	saddr.sin_addr.s_addr = htonl(INADDR_ANY);
	err = bind(sock, (struct sockaddr *)&saddr, sizeof(struct sockaddr_in));
	if (err < 0) {
		printk("bind() failed, error: %d\n", errno);
		udp_error();
		goto err_cleanup;
	}
		
	struct sockaddr_in addr;
	err = inet_pton(AF_INET, "239.192.76.84", &addr.sin_addr);
	if (err != 1) {
		printk("inet_pton failed, error: %d\n", errno);
		udp_error();
		goto err_cleanup;
	}

	struct net_if_mcast_addr *ret = net_if_ipv4_maddr_add(wifi_if, &addr.sin_addr);
	if (ret == NULL) {
		printk("net_if_ipv4_maddr_add() failed, error: %d\n", errno);
		udp_error();
		goto err_cleanup;
	}

	err = net_ipv4_igmp_join(wifi_if, &addr.sin_addr);
	if (err) {
		printk("net_ipv4_igmp_join error: %d\n", err);
	}
	 
	udp_sock = sock;
	
	printk("multicast socket now ready.\n");
						
	return;

	
err_cleanup:
	close(sock);
	udp_error();
	return;

}

void udp_rx_runloop(void *p1, void *p2, void *p3) {
	printk("starting LToUDP listener\n");
	init_udp();
	
	while(1) {
		/* retry if we need to */
		while(udp_sock == -1) {
			printk("setting up LToUDP listener failed.  Retrying...\n");
			k_msleep(1000);
			init_udp();
		}
	
		while(1) {
			unsigned char buffer[603+4]; // 603 for LLAP (per Inside Appletalk) + 
										 // 4 bytes LToUDP header
			int len = recv(udp_sock, buffer, sizeof(buffer), 0);
			//printk("Received UDP packet\n");
			if (len < 0) {
				flash_led_once(UDP_RED_LED);
				break;
			}
			if (len > 609) {
				flash_led_once(UDP_RED_LED);
				printk("packet too long: %d\n", len);
				continue;
			}
			if (len > 7) {
				flash_led_once(UDP_RX_LED);
			
				// Have we seen any traffic from this node?  Is it one
				// we actually want to send traffic to?  If not, go around
				// again.
				if (!nt_fresh(&forward_for_nodes, buffer[4], 3600) &&
					(buffer[4] != 255)) {
					continue;
				}
			
				// fetch an empty buffer from the pool and fill it with
				// packet info
				llap_packet* lp = bp_fetch(packet_pool);
				if (lp != NULL) {
					crc_state_t crc;
				
					// copy the LLAP packet into the packet buffer
					lp->length = len-2; // -4 for LToUDP tag, +2 for the FCS
					memcpy(lp->packet, buffer+4, len-4);
				
					// now calculate the CRC
					crc_state_init(&crc);
					crc_state_append_all(&crc, buffer+4, len-4);
					lp->packet[lp->length - 2] = crc_state_byte_1(&crc);
					lp->packet[lp->length - 1] = crc_state_byte_2(&crc);
				
					k_msgq_put(udp_rx_queue, &lp, K_FOREVER);
				} else {
					printk("udp_rx_runloop lp == NULL\n");
				}
			}			
		}
	
		close(udp_sock);
		udp_sock = -1;
	}
}

void udp_tx_runloop(void *p1, void *p2, void *p3) {
	//printk("udp_tx_runloop 0\n");
	llap_packet* packet = NULL;
	unsigned char outgoing_buffer[605 + 4] = { 0 }; // LToUDP has 4 byte header
	struct sockaddr_in dest_addr = {0};
	int err = 0;

	//printk("udp_tx_runloop 1\n");
		
	err = inet_pton(AF_INET, "239.192.76.84", &dest_addr.sin_addr);
	dest_addr.sin_family = AF_INET;
	dest_addr.sin_port = htons(1954);
	
	ESP_LOGI(TAG, "starting LToUDP sender");
	
	while(1) {
		k_msgq_get(udp_tx_queue, &packet, K_FOREVER);
				
		//printk("udp_tx_runloop 2.1\n");
		if (packet == NULL) {
			continue;
		}
		
		// Add this to the "known senders" list we're forwarding traffic for
		if (packet->length > 3) {
			nt_touch(&forward_for_nodes, packet->packet[1]);
		}
		//printk("udp_tx_runloop 2.2\n");
		
		// Should we pass this on?
		// If it's an RTS or a CTS packet, then no
		if (packet->length == 5) {
			if (packet->packet[2] == 0x84 || packet->packet[2] == 0x85) {
				goto skip_processing;
			}
		}
				
		//printk("udp_tx_runloop 2.3\n");
		/* TODO: if this is an ENQ for a node ID that is not in our recently
		   seen table, pass it on, otherwise block all ENQs */
		   
		if (udp_sock != -1) {
			memcpy(outgoing_buffer+4, packet->packet, packet->length);
			//printk("udp_tx_runloop 2.3.1\n");
			
			err = sendto(udp_sock, outgoing_buffer, packet->length+2, 0, 
				(struct sockaddr *)&dest_addr, sizeof(dest_addr));
			//printk("udp_tx_runloop 2.3.2\n");
			if (err < 0) {
				ESP_LOGE(TAG, "error: sendto: errno %d", errno);
				flash_led_once(UDP_RED_LED);
			} else {
				flash_led_once(UDP_TX_LED);
			}
			err = 0;
			//printk("udp_tx_runloop 2.3.3\n");
		}
				
skip_processing:
		bp_relinquish(packet_pool, (void**)&packet);
		//printk("udp_tx_runloop 2.4\n");
	}
	//printk("udp_tx_runloop 3\n");
}


void start_udp(buffer_pool_t* pool, struct k_msgq *txQueue, struct k_msgq *rxQueue) {
	packet_pool = pool;
	udp_tx_queue = txQueue;
	udp_rx_queue = rxQueue;
        k_thread_create(&udp_rx_task, udp_rx_stack,
                        K_THREAD_STACK_SIZEOF(udp_rx_stack),
                        udp_rx_runloop,
                        NULL, NULL, NULL,
                        THREAD_UDP_RX_PRIORITY, 0, K_NO_WAIT);
        k_thread_create(&udp_tx_task, udp_tx_stack,
                        K_THREAD_STACK_SIZEOF(udp_tx_stack),
                        udp_tx_runloop,
                        NULL, NULL, NULL,
                        THREAD_UDP_TX_PRIORITY, 0, K_NO_WAIT);


}
```

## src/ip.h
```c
#ifndef IP_H
#define IP_H

#include "buffer_pool.h"

/* ip.{c,h} contains the code to maintain and listen to the LToUDP socket and
   squirt data down it.*/

// start_udp starts the UDP connection.  Packets that are sent to txQueue are
// transmitted; packets that are received are sent to rxQueue.  Packets from
// rxQueue are drawn from the pool; packets in txQueue are returned to the pool
// once sent, so make sure that all packets sent are drawn from the pool.
void start_udp(buffer_pool_t* pool, struct k_msgq *txQueue, struct k_msgq *rxQueue);

#endif
```

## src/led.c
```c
#include <zephyr/zephyr.h>
#include <zephyr/drivers/gpio.h>

#include "esp_log.h"

#include "led.h"

#define FLASH_LENGTH 125
#define THREAD_LED_PRIORITY CONFIG_NUM_PREEMPT_PRIORITIES - 2// Second to lowest priority

static const char* TAG = "LED";
void led_runloop(void* param, void *p2, void *p3);

/* Configuration for the status LEDs */
typedef struct {
	/* initialise these fields */
	
	int enabled; 
	char* name;
	const struct gpio_dt_spec gpio_pin;
	int also;
	
	/* don't initialise these */
	
	struct k_thread thread;
	struct k_event event;
	int gpio_state;
} led_config_t;

static led_config_t led_config[] = {
	[WIFI_RED_LED] = {
		.enabled = 1,
		.name = "WIFI_RED_LED",
		.gpio_pin = GPIO_DT_SPEC_GET(DT_ALIAS(wifi_red_led), gpios)
	},
	
	[WIFI_GREEN_LED] = {
		.enabled = 1,
		.name = "WIFI_GREEN_LED",
		.gpio_pin = GPIO_DT_SPEC_GET(DT_ALIAS(wifi_green_led), gpios)
	},
	
	[UDP_RED_LED] = {
		.enabled = 1,
		.name = "UDP_RED_LED",
		.gpio_pin = GPIO_DT_SPEC_GET(DT_ALIAS(udp_red_led), gpios),
		.also = ANY_ERR_LED
	},
	
	[UDP_TX_LED] = {
		.enabled = 1,
		.name = "UDP_TX_LED",
		.gpio_pin = GPIO_DT_SPEC_GET(DT_ALIAS(udp_tx_led), gpios),
		.also = ANY_ACT_LED
	},
	
	[UDP_RX_LED] = {
		.enabled = 1,
		.name = "UDP_RX_LED",
		.gpio_pin = GPIO_DT_SPEC_GET(DT_ALIAS(udp_rx_led), gpios),
		.also = ANY_ACT_LED
	},
	
	[LT_RED_LED] = {
		.enabled = 1,
		.name = "LT_RED_LED",
		.gpio_pin = GPIO_DT_SPEC_GET(DT_ALIAS(lt_red_led), gpios),
		.also = ANY_ERR_LED
	},
	
	[LT_TX_LED] = {
		.enabled = 1,
		.name = "LT_TX_LED",
		.gpio_pin = GPIO_DT_SPEC_GET(DT_ALIAS(lt_tx_led), gpios),
		.also = ANY_ACT_LED
	},
	
	[LT_RX_LED] = {
		.enabled = 1,
		.name = "LT_RX_LED",
		.gpio_pin = GPIO_DT_SPEC_GET(DT_ALIAS(lt_rx_led), gpios),
		.also = ANY_ACT_LED
	},
	
	[OH_NO_LED] = {
		.enabled = 1,
		.name = "OH_NO_LED",
		.gpio_pin = GPIO_DT_SPEC_GET(DT_ALIAS(oh_no_led), gpios)
	},
	
	[ANY_ERR_LED] = {
		.enabled = 1,
		.name = "ANY_ERR_LED",
		.gpio_pin = GPIO_DT_SPEC_GET(DT_ALIAS(generic_err_led), gpios)
	},
	
	[ANY_ACT_LED] = {
		.enabled = 1,
		.name = "ANY_ACT_LED",
		.gpio_pin = GPIO_DT_SPEC_GET(DT_ALIAS(generic_act_led), gpios)
	},
};

K_THREAD_STACK_ARRAY_DEFINE(led_stacks, sizeof(led_config) / sizeof(led_config[0]), 1024);

/* led_init sets up gpio pins and starts the background tasks for each LED */
void led_init(void) {
	int num_of_leds = sizeof(led_config) / sizeof(led_config[0]);
	
	/* set up GPIO pin, light up each LED */
	
	for(int i = 0; i < num_of_leds; i++) {
		if (led_config[i].enabled != 1) {
			continue;
		}
		
		gpio_pin_configure_dt(&led_config[i].gpio_pin, GPIO_OUTPUT_ACTIVE);
	}
	
	k_msleep(250);
	
	/* Now turn off each LED and start the background task for each LED */
	for(int i = 0; i < num_of_leds; i++) {
		if (led_config[i].enabled != 1) {
			continue;
		}
	
		gpio_pin_set_dt(&led_config[i].gpio_pin, 0);

		k_tid_t tid = k_thread_create(&led_config[i].thread, led_stacks[i],
						 K_THREAD_STACK_SIZEOF(led_stacks[i]),
						 led_runloop,
						 (void *)i, NULL, NULL,
						 THREAD_LED_PRIORITY, 0, K_NO_WAIT);
		k_event_init(&led_config[i].event);
	}
}


void led_runloop(void* param, void *p2, void *p3) {
	LED led = (LED) param;
	unsigned int dummy_value = 0;
	
	/* We just run in a loop, waiting to be notified, flashing our little
	   light, then going back to sleep again. */
	while(1) {
		k_event_wait(&led_config[led].event, 0x1, true, K_FOREVER);
		gpio_pin_set_dt(&led_config[led].gpio_pin, (led_config[led].gpio_state + 1) % 2);
		//printk("LED %d on\n", led);
		k_msleep(FLASH_LENGTH);
		gpio_pin_set_dt(&led_config[led].gpio_pin, led_config[led].gpio_state);
		//printk("LED %d off\n", led);
	}
}

void turn_led_on(LED led) {
	led_config[led].gpio_state = 1;
	gpio_pin_set_dt(&led_config[led].gpio_pin, 1);
}

void turn_led_off(LED led) {
	led_config[led].gpio_state = 0;
	gpio_pin_set_dt(&led_config[led].gpio_pin, 0);
}


void flash_led_once(LED led) {
	int num_of_leds = sizeof(led_config) / sizeof(led_config[0]);
	
	if (led >= num_of_leds || !led_config[led].enabled) {
		printk("attempt to flash illicit LED: %d\n", led);
	}
	
	k_event_post(&led_config[led].event, 0x1);
	
	// do we have a second LED we should also flash?
	if (led_config[led].also) {
		flash_led_once(led_config[led].also);
	}
}

void flash_all_leds_once(void) {
	int num_of_leds = sizeof(led_config) / sizeof(led_config[0]);
	
	for(int i = 0; i < num_of_leds; i++) {
		if (led_config[i].enabled != 1) {
			continue;
		}
		
		flash_led_once(i);
	}
}

void turn_all_leds_on(void) {
	int num_of_leds = sizeof(led_config) / sizeof(led_config[0]);
	
	for(int i = 0; i < num_of_leds; i++) {
		if (led_config[i].enabled != 1) {
			continue;
		}
		
		turn_led_on(i);
	}
}
```

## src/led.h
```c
#ifndef LED_H
#define LED_H

typedef enum {
	WIFI_RED_LED, WIFI_GREEN_LED,
	UDP_RED_LED, UDP_TX_LED, UDP_RX_LED,
	LT_RED_LED, LT_TX_LED, LT_RX_LED,
	OH_NO_LED, ANY_ERR_LED, ANY_ACT_LED,
} LED;

void led_init(void);
void flash_led_once(LED led);
void flash_all_leds_once(void);
void turn_led_on(LED led);
void turn_led_off(LED led);
void turn_all_leds_on(void);

#endif
```

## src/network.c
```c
#include <zephyr/zephyr.h>
#include <zephyr/net/net_if.h>
#include <zephyr/net/net_core.h>
#include <zephyr/net/net_context.h>
#include <zephyr/net/net_mgmt.h>

#include <stdbool.h>
#include <string.h>

#include "led.h"
#include "storage.h"

struct net_if *iface = NULL;
static bool network_ready = false;

static struct net_mgmt_event_callback dhcp_cb;

static void handler_cb(struct net_mgmt_event_callback *cb,
                    uint32_t mgmt_event, struct net_if *iface)
{
        if (mgmt_event != NET_EVENT_IPV4_DHCP_BOUND) {
                return;
        }

	turn_led_on(WIFI_GREEN_LED);
	turn_led_off(WIFI_RED_LED);
	network_ready = true;

        char buf[NET_IPV4_ADDR_LEN];

        printk("Your address: %s\n",
                net_addr_ntop(AF_INET,
                                   &iface->config.dhcpv4.requested_ip,
                                   buf, sizeof(buf)));
        printk("Lease time: %u seconds\n",
                        iface->config.dhcpv4.lease_time);
        printk("Subnet: %s\n",
                net_addr_ntop(AF_INET,
                                        &iface->config.ip.ipv4->netmask,
                                        buf, sizeof(buf)));
        printk("Router: %s\n",
                net_addr_ntop(AF_INET,
                                                &iface->config.ip.ipv4->gw,
                                                buf, sizeof(buf)));
}


void init_network(void)
{
        net_mgmt_init_event_callback(&dhcp_cb, handler_cb,
                                     NET_EVENT_IPV4_DHCP_BOUND);

        net_mgmt_add_event_callback(&dhcp_cb);

        iface = net_if_get_default();
        if (!iface) {
                printk("network interface not available\n");
                return;
        }

	printk("DHCP start...\r\n");
        net_dhcpv4_start(iface);
}

struct net_if *get_network_interface(void) {
	return iface;
}

bool is_network_ready(void) {
	return network_ready;
}
```

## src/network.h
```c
#ifndef NETWORK_H
#define NETWORK_H

#include <stdbool.h>

void init_network(void);
struct net_if *get_network_interface(void);
bool is_network_ready(void);

#endif
```
